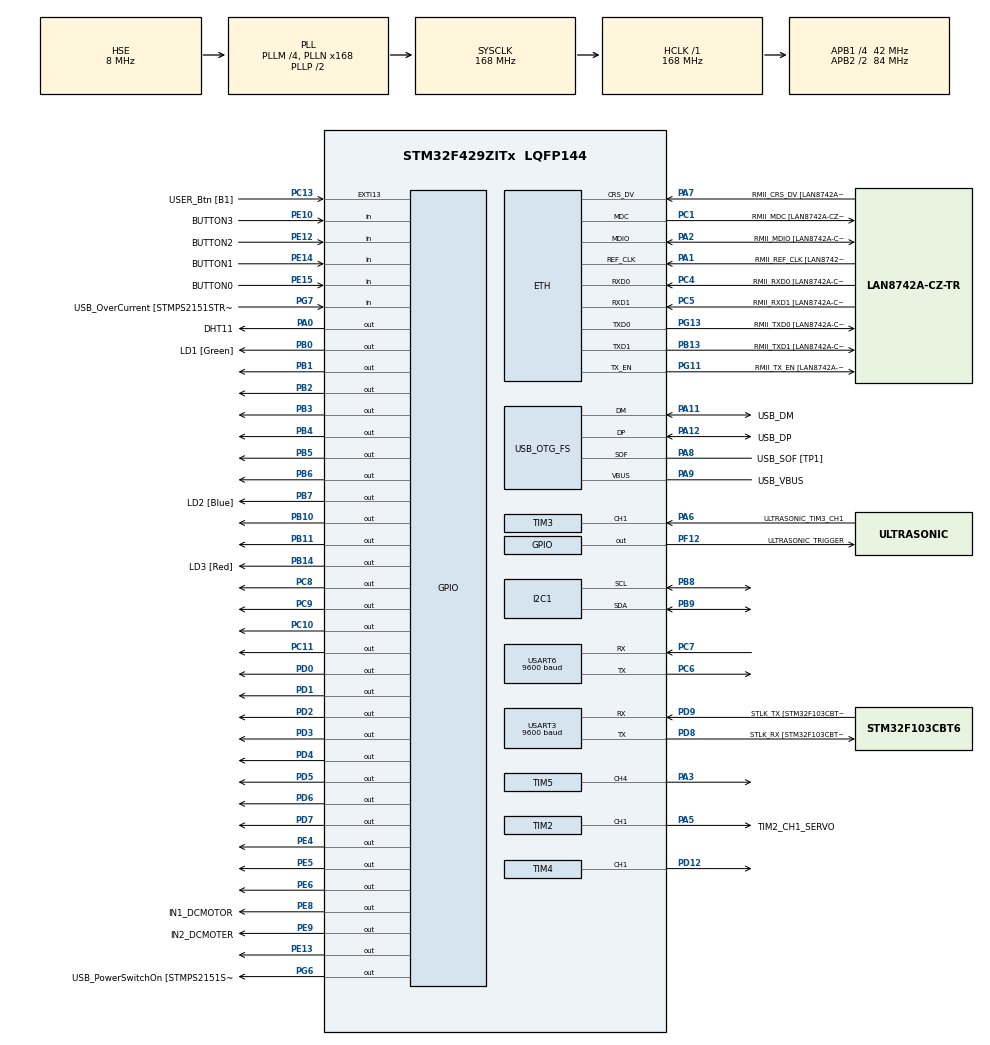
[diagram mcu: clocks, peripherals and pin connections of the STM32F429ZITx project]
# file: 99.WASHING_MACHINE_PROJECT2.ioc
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ETH.MediaInterface=HAL_ETH_RMII_MODE
ETH.PHY_Name=LAN8742A_PHY_ADDRESS
ETH.PHY_Value=0
ETH.PhyAddress=0
Mcu.Family=STM32F4
Mcu.Name=STM32F429ZITx
Mcu.Package=LQFP144
NVIC.PriorityGroup=NVIC_PRIORITYGROUP_4
NVIC.TIM1_TRG_COM_TIM11_IRQn=true\:0\:0\:false\:false\:true\:true\:true\:true
NVIC.TIM1_UP_TIM10_IRQn=true\:0\:0\:false\:false\:true\:true\:true\:true
NVIC.TIM2_IRQn=true\:0\:0\:false\:false\:true\:true\:true\:true
NVIC.TIM3_IRQn=true\:0\:0\:false\:false\:true\:true\:true\:true
NVIC.TIM4_IRQn=true\:0\:0\:false\:false\:true\:true\:true\:true
NVIC.TIM5_IRQn=true\:0\:0\:false\:false\:true\:true\:true\:true
NVIC.USART3_IRQn=true\:0\:0\:false\:false\:true\:true\:true\:true
NVIC.USART6_IRQn=true\:0\:0\:false\:false\:true\:true\:true\:true
PA0/WKUP.GPIO_Label=DHT11
PA0/WKUP.Signal=GPIO_Output
PA1.GPIO_Label=RMII_REF_CLK [LAN8742A-CZ-TR_REFCLK0]
PA1.Mode=RMII
PA1.Signal=ETH_REF_CLK
PA10.GPIO_Label=USB_ID
PA10.Signal=USB_OTG_FS_ID
PA11.GPIO_Label=USB_DM
PA11.Mode=Device_Only
PA11.Signal=USB_OTG_FS_DM
PA12.GPIO_Label=USB_DP
PA12.Mode=Device_Only
PA12.Signal=USB_OTG_FS_DP
PA13.GPIO_Label=TMS
PA13.Mode=Serial_Wire
PA13.Signal=SYS_JTMS-SWDIO
PA14.GPIO_Label=TCK
PA14.Mode=Serial_Wire
PA14.Signal=SYS_JTCK-SWCLK
PA2.GPIO_Label=RMII_MDIO [LAN8742A-CZ-TR_MDIO]
PA2.Mode=RMII
PA2.Signal=ETH_MDIO
PA3.Signal=S_TIM5_CH4
PA5.GPIO_Label=TIM2_CH1_SERVO
PA5.Signal=S_TIM2_CH1_ETR
PA6.GPIO_Label=ULTRASONIC_TIM3_CH1
PA6.Signal=S_TIM3_CH1
PA7.GPIO_Label=RMII_CRS_DV [LAN8742A-CZ-TR_CRS_DV]
PA7.Mode=RMII
PA7.Signal=ETH_CRS_DV
PA8.GPIO_Label=USB_SOF [TP1]
PA8.Mode=Activate_SOF_FS
PA8.Signal=USB_OTG_FS_SOF
PA9.GPIO_Label=USB_VBUS
PA9.Mode=Activate_VBUS
PA9.Signal=USB_OTG_FS_VBUS
PB0.GPIO_Label=LD1 [Green]
PB0.Signal=GPIO_Output
PB1.Signal=GPIO_Output
PB10.Signal=GPIO_Output
PB11.Signal=GPIO_Output
PB13.GPIO_Label=RMII_TXD1 [LAN8742A-CZ-TR_TXD1]
PB13.Mode=RMII
PB13.Signal=ETH_TXD1
PB14.GPIO_Label=LD3 [Red]
PB14.Signal=GPIO_Output
PB2/BOOT1.Signal=GPIO_Output
PB3.Signal=GPIO_Output
PB4.Signal=GPIO_Output
PB5.Signal=GPIO_Output
PB6.Signal=GPIO_Output
PB7.GPIO_Label=LD2 [Blue]
PB7.Signal=GPIO_Output
PB8.Mode=I2C
PB8.Signal=I2C1_SCL
PB9.Mode=I2C
PB9.Signal=I2C1_SDA
PC1.GPIO_Label=RMII_MDC [LAN8742A-CZ-TR_MDC]
PC1.Mode=RMII
PC1.Signal=ETH_MDC
PC10.Signal=GPIO_Output
PC11.Signal=GPIO_Output
PC13.GPIO_Label=USER_Btn [B1]
PC13.Signal=GPXTI13
PC14/OSC32_IN.Mode=LSE-External-Oscillator
PC14/OSC32_IN.Signal=RCC_OSC32_IN
PC15/OSC32_OUT.Mode=LSE-External-Oscillator
PC15/OSC32_OUT.Signal=RCC_OSC32_OUT
PC4.GPIO_Label=RMII_RXD0 [LAN8742A-CZ-TR_RXD0]
PC4.Mode=RMII
PC4.Signal=ETH_RXD0
PC5.GPIO_Label=RMII_RXD1 [LAN8742A-CZ-TR_RXD1]
PC5.Mode=RMII
PC5.Signal=ETH_RXD1
PC6.Mode=Asynchronous
PC6.Signal=USART6_TX
PC7.Mode=Asynchronous
PC7.Signal=USART6_RX
PC8.Signal=GPIO_Output
PC9.Signal=GPIO_Output
PD0.Signal=GPIO_Output
PD1.Signal=GPIO_Output
PD12.Signal=S_TIM4_CH1
PD2.Signal=GPIO_Output
PD3.Signal=GPIO_Output
PD4.Signal=GPIO_Output
PD5.Signal=GPIO_Output
PD6.Signal=GPIO_Output
PD7.Signal=GPIO_Output
PD8.GPIO_Label=STLK_RX [STM32F103CBT6_PA3]
PD8.Mode=Asynchronous
PD8.Signal=USART3_TX
PD9.GPIO_Label=STLK_TX [STM32F103CBT6_PA2]
PD9.Mode=Asynchronous
PD9.Signal=USART3_RX
PE10.GPIO_Label=BUTTON3
PE10.Signal=GPIO_Input
PE12.GPIO_Label=BUTTON2
PE12.Signal=GPIO_Input
PE13.Signal=GPIO_Output
PE14.GPIO_Label=BUTTON1
PE14.Signal=GPIO_Input
PE15.GPIO_Label=BUTTON0
PE15.Signal=GPIO_Input
PE4.Signal=GPIO_Output
PE5.Signal=GPIO_Output
PE6.Signal=GPIO_Output
PE8.GPIO_Label=IN1_DCMOTOR
PE8.Signal=GPIO_Output
PE9.GPIO_Label=IN2_DCMOTER
PE9.Signal=GPIO_Output
PF12.GPIO_Label=ULTRASONIC_TRIGGER
PF12.Signal=GPIO_Output
PG11.GPIO_Label=RMII_TX_EN [LAN8742A-CZ-TR_TXEN]
PG11.Mode=RMII
PG11.Signal=ETH_TX_EN
PG13.GPIO_Label=RMII_TXD0 [LAN8742A-CZ-TR_TXD0]
PG13.Mode=RMII
PG13.Signal=ETH_TXD0
PG6.GPIO_Label=USB_PowerSwitchOn [STMPS2151STR_EN]
PG6.Signal=GPIO_Output
PG7.GPIO_Label=USB_OverCurrent [STMPS2151STR_FAULT]
PG7.Signal=GPIO_Input
PH0/OSC_IN.GPIO_Label=MCO [STM32F103CBT6_PA8]
PH0/OSC_IN.Mode=HSE-External-Clock-Source
PH0/OSC_IN.Signal=RCC_OSC_IN
PH1/OSC_OUT.Mode=HSE-External-Clock-Source
PH1/OSC_OUT.Signal=RCC_OSC_OUT
ProjectManager.HeapSize=0x200
ProjectManager.StackSize=0x400
ProjectManager.TargetToolchain=STM32CubeIDE
RCC.48MHZClocksFreq_Value=48000000
RCC.AHBFreq_Value=168000000
RCC.APB1CLKDivider=RCC_HCLK_DIV4
RCC.APB1Freq_Value=42000000
RCC.APB1TimFreq_Value=84000000
RCC.APB2CLKDivider=RCC_HCLK_DIV2
RCC.APB2Freq_Value=84000000
RCC.APB2TimCLKDivider=2
RCC.APB2TimFreq_Value=168000000
RCC.CortexFreq_Value=168000000
RCC.HCLKFreq_Value=168000000
RCC.HSE_VALUE=8000000
RCC.HSI_VALUE=16000000
RCC.PLLM=4
RCC.PLLMUL=RCC_PLL_MUL9
RCC.PLLN=168
RCC.PLLQ=7
RCC.PRESCALERUSB=RCC_USBCLKSOURCE_PLL_DIV1_5
RCC.SYSCLKFreq_VALUE=168000000
RCC.SYSCLKSource=RCC_SYSCLKSOURCE_PLLCLK
RCC.SYSCLKSourceVirtual=RCC_SYSCLKSOURCE_PLLCLK
RCC.USBFreq_Value=48000000
RCC.VCOOutputFreq_Value=336000000
RTC.Date=16
RTC.Hours=9
RTC.Minutes=38
RTC.Month=RTC_MONTH_OCTOBER
RTC.Year=23
SH.S_TIM2_CH1_ETR.0=TIM2_CH1,PWM Generation1 CH1
SH.S_TIM3_CH1.0=TIM3_CH1,Input_Capture1_from_TI1
SH.S_TIM4_CH1.0=TIM4_CH1,PWM Generation1 CH1
SH.S_TIM5_CH4.0=TIM5_CH4,PWM Generation4 CH4
TIM10.Period=10000-1
TIM10.Prescaler=168-1
TIM11.Prescaler=168-1
TIM2.Channel-PWM\ Generation1\ CH1=TIM_CHANNEL_1
TIM2.Period=1000-1
TIM2.Prescaler=1680-1
TIM2.Pulse-PWM\ Generation1\ CH1=500-1
TIM3.Channel-Input_Capture1_from_TI1=TIM_CHANNEL_1
TIM3.ICPolarity_CH1=TIM_INPUTCHANNELPOLARITY_BOTHEDGE
TIM3.Prescaler=84-1
TIM4.Channel-PWM\ Generation1\ CH1=TIM_CHANNEL_1
TIM4.OCFastMode_PWM-PWM\ Generation1\ CH1=TIM_OCFAST_ENABLE
TIM4.Period=100-1
TIM4.Prescaler=840-1
TIM4.Pulse-PWM\ Generation1\ CH1=70-1
TIM5.Channel-PWM\ Generation4\ CH4=TIM_CHANNEL_4
TIM5.Period=400-1
TIM5.Prescaler=52.5-1
TIM5.Pulse-PWM\ Generation4\ CH4=200-1
USART3.BaudRate=9600
USART3.VirtualMode=VM_ASYNC
USART6.BaudRate=9600
USART6.VirtualMode=VM_ASYNC
USB_OTG_FS.VirtualMode=Device_Only
VP_RTC_VS_RTC_Activate.Mode=RTC_Enabled
VP_RTC_VS_RTC_Calendar.Mode=RTC_Calendar
VP_TIM10_VS_ClockSourceINT.Mode=Enable_Timer
VP_TIM11_VS_ClockSourceINT.Mode=Enable_Timer
VP_TIM4_VS_ClockSourceINT.Mode=Internal
VP_TIM5_VS_ClockSourceINT.Mode=Internal
board=NUCLEO-F429ZI

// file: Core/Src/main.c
/* USER CODE BEGIN Header */
/**
  ******************************************************************************
  * @file           : main.c
  * @brief          : Main program body
  ******************************************************************************
  * @attention
  *
  * Copyright (c) 2023 STMicroelectronics.
  * All rights reserved.
  *
  * This software is licensed under terms that can be found in the LICENSE file
  * in the root directory of this software component.
  * If no LICENSE file comes with this software, it is provided AS-IS.
  *
  ******************************************************************************
  */
/* USER CODE END Header */
#include "main.h"
#include "string.h"

ETH_TxPacketConfig TxConfig;
ETH_DMADescTypeDef  DMARxDscrTab[ETH_RX_DESC_CNT]; /* Ethernet Rx DMA Descriptors */
ETH_DMADescTypeDef  DMATxDscrTab[ETH_TX_DESC_CNT]; /* Ethernet Tx DMA Descriptors */

ETH_HandleTypeDef heth;

I2C_HandleTypeDef hi2c1;

RTC_HandleTypeDef hrtc;

TIM_HandleTypeDef htim2;
TIM_HandleTypeDef htim3;
TIM_HandleTypeDef htim4;
TIM_HandleTypeDef htim5;
TIM_HandleTypeDef htim10;
TIM_HandleTypeDef htim11;

UART_HandleTypeDef huart3;
UART_HandleTypeDef huart6;

PCD_HandleTypeDef hpcd_USB_OTG_FS;

/* USER CODE BEGIN PV */
uint8_t rx_data;									// UART3 rx data
uint8_t bt_rx_data;									// UART6 bt rx data
volatile int TIM10_10ms_counter = 0;				// variation from line-124
volatile int TIM10_10ms_ultrasonic = 0;					// new counter ( because counter clear point different)
volatile int TIM10_10ms_counter_pwm = 0;
volatile int TIM10_10ms_toggle = 0;
//volatile int TIM10_10ms_counter_led = 0;
//a
//a
/* USER CODE END PV */

void SystemClock_Config(void);
static void MX_GPIO_Init(void);
static void MX_ETH_Init(void);
static void MX_USART3_UART_Init(void);
static void MX_USB_OTG_FS_PCD_Init(void);
static void MX_USART6_UART_Init(void);
static void MX_TIM10_Init(void);
static void MX_TIM11_Init(void);
static void MX_TIM3_Init(void);
static void MX_I2C1_Init(void);
static void MX_TIM4_Init(void);
static void MX_TIM2_Init(void);
static void MX_RTC_Init(void);
static void MX_TIM5_Init(void);
/* USER CODE BEGIN PFP */
extern void led_main(void);							// different file func declaration
extern void pc_command_processing(void);			// declaration (from uart.c)
extern void bt_command_processing(void);			// declaration (from uart.c)
extern void DHT11_main(void);						// declaration (from DHT11.c 11)
extern void DHT11_Init(void);						// declaration (from DHT11.c 12)
extern void DHT11_processing(void);					// declaration (from DHT11.c 13)
extern void ultrasonic_processing(void);				// declaration (from ultrasonic.c 4 )
extern void i2c_lcd_main(void);							// declaration (from i2c_lcd.c 17 )
extern void i2c_lcd_init(void);								// from i2c_lcd.h
extern void lcd_string(uint8_t *str);								// from i2c_lcd.h
extern void move_cursor(uint8_t row, uint8_t column);				// from i2c_lcd.h
extern void dcmotor_pwm_control(void);								// declaration		from dcmotor.c 6
extern void servo_motor_test_main(void);							// declaration 		from servo_motor.c 3
extern void get_rtc(void);												// from internal_rtc.c 4
extern void lcd_display_mode_select(void);								// from button.c 8
extern void set_time_button_ui(void);									// from internal_rtc.c 6
extern void buzzer_main();													// from buzzer.c 59
extern void fnd4digit_main(void);												//
extern void FND4digit_off(void);
extern void fnd4digit_sec_clock(void);
extern void buzzer_stop();
extern void buzzer_finish();

void delay_us(unsigned long us);						// declaration (from dcmotor.c 6 )
/* USER CODE END PFP */

/* USER CODE BEGIN 0 */
//==============================================
// call by SysTick_Handler of stm32f4xx_it.c
// ARM default timer
// enter here every 1ms
//==============================================
volatile int t1ms_counter = 0;						// volatile : disable optimize  -> dcmotor pwm control
volatile int fnd1ms_counter = 0;									// fnd1ms
void HAL_SYSTICK_Handler(void)						// func
{
	t1ms_counter++;									// 1ms timer
	fnd1ms_counter++;												//
}
//==============================================
// printf.c -> copy									120
//==============================================
//----------  printf start ---------------------------------------------------------------------//
#ifdef __GNUC__
/* With GCC, small printf (option LD Linker->Libraries->Small printf
   set to 'Yes') calls __io_putchar() */
#define PUTCHAR_PROTOTYPE int __io_putchar(int ch)
#else
#define PUTCHAR_PROTOTYPE int fputc(int ch, FILE *f)
#endif /* __GNUC_ */
/**
  * @brief  Retargets the C library printf function to the USART.
  * @param  None
  * @retval None
  */
PUTCHAR_PROTOTYPE   // Add for printf
{
  /* Place your implementation of fputc here */
  /* e.g. write a character to the USART3 and Loop until the end of transmission */
  HAL_UART_Transmit(&huart3, (uint8_t *)&ch, 1, 0xFFFF);

  return ch;
}
//----------  printf end -----------------------------------------------------------------------//
// move from Driver/STM32F4xx_HAL_Driver/stm32f4xx_hal_tim.c to here
// enter here when every timer INT occurs
// volatile int TIM10_10ms_counter = 0;							// variation move up line-61
void HAL_TIM_PeriodElapsedCallback(TIM_HandleTypeDef *htim)		// Call back function (move from Driver/STM32F4xx_HAL_Driver/stm32f4xx_hal_tim.c to here)
{
	if (htim->Instance == TIM10)								//
	{
		TIM10_10ms_counter++;									// 10ms timer counter (increase)
		TIM10_10ms_ultrasonic++;									// 10ms ultrasonic counter trigger timer
		TIM10_10ms_counter_pwm++;
		TIM10_10ms_toggle++;
//		TIM10_10ms_counter_led++;
	}
}

void delay_us(unsigned long us)
{
	__HAL_TIM_SET_COUNTER(&htim11,0);							// tim11 clear				// H/W counter read pulse
	while (__HAL_TIM_GET_COUNTER(&htim11) < us)												// cycle reputation 		// 129
		;
}

/* USER CODE END 0 */

int main(void)
{

  /* MCU Configuration--------------------------------------------------------*/

  /* Reset of all peripherals, Initializes the Flash interface and the Systick. */
  HAL_Init();

  /* Configure the system clock */
  SystemClock_Config();

  /* Initialize all configured peripherals */
  MX_GPIO_Init();
  MX_ETH_Init();
  MX_USART3_UART_Init();
  MX_USB_OTG_FS_PCD_Init();
  MX_USART6_UART_Init();
  MX_TIM10_Init();
  MX_TIM11_Init();
  MX_TIM3_Init();
  MX_I2C1_Init();
  MX_TIM4_Init();
  MX_TIM2_Init();
  MX_RTC_Init();
  MX_TIM5_Init();
  /* USER CODE BEGIN 2 */
  HAL_UART_Receive_IT(&huart3, &rx_data, 1);		// assigning to RX INT(interrupt)
  HAL_UART_Receive_IT(&huart6, &bt_rx_data, 1);		// for BT assigning to RX INT(interrupt)
  HAL_TIM_Base_Start_IT(&htim10);					// ADD_Juhee_1011
  HAL_TIM_Base_Start_IT(&htim11);					// ADD_Juhee_1011
  HAL_TIM_IC_Start_IT(&htim3, TIM_CHANNEL_1);		// for count pulse (rising edge & falling edge) -> interrupt
  HAL_TIM_PWM_Start_IT(&htim4, TIM_CHANNEL_1);			// for DC motor PWM control
  HAL_TIM_PWM_Start(&htim2, TIM_CHANNEL_1);				// for SERVO motor PWM control
  //HAL_TIM_PWM_Start(&htim5, TIM_CHANNEL_4);					// PIEZO BUzzer (Pinout -> Channel:4)

DHT11_Init();								// clear
i2c_lcd_init();								// clear
FND4digit_off();				// clear

TIM10_10ms_counter = 0;								// for clear
//TIM10_10ms_counter_led = 0;
//	printf("led_main() start !!!\n");  	  	  	  	// test code
//  led_main();										// write only func name
//  DHT11_main();									// test code
//	i2c_lcd_main();									// test -> Hello World print check -> delete
//	servo_motor_test_main();					// for servo test code -> infinite loop(lcd on x)
//	buzzer_main();
//	fnd4digit_main();

  /* USER CODE END 2 */

  /* Infinite loop */
  /* USER CODE BEGIN WHILE */
  while (1)
  {
//	  DHT11_processing();	  							// all func cycle
	  pc_command_processing();							// call cycle
	  bt_command_processing();							// call
//	  ultrasonic_processing();
	  dcmotor_pwm_control();
//	  get_rtc();										//
	  lcd_display_mode_select();						//
//	  set_time_button_ui();								//
	  fnd4digit_sec_clock();

#if 0
// LED 1 2 3 -> 50ms 100ms 150ms toggle
#if 1
	  if (TIM10_10ms_counter >= 5)							// 50ms toggle
	  {
		  HAL_GPIO_TogglePin(GPIOB, GPIO_PIN_0); 			// LED1
	  }

	  if (TIM10_10ms_counter >= 10)							// 100ms toggle
	  {
		  HAL_GPIO_TogglePin(GPIOB, GPIO_PIN_7); 			// LED2
	  }

	  if (TIM10_10ms_counter >= 15)							// 150ms toggle
	  {
		  HAL_GPIO_TogglePin(GPIOB, GPIO_PIN_14); 			// LED3
		  TIM10_10ms_counter = 0;
	  }

// LED 123 -> 50ms toggle
#else
	  if (TIM10_10ms_counter >= 5)					// 50ms toggle (inside LED123)
	  {
		  TIM10_10ms_counter = 0;					// clear
		  HAL_GPIO_TogglePin(GPIOB, GPIO_PIN_0); 	// LED1
		  HAL_GPIO_TogglePin(GPIOB, GPIO_PIN_7); 	// LED3
		  HAL_GPIO_TogglePin(GPIOB, GPIO_PIN_14); 	// LED2
//		  HAL_Delay(50);							// toggle -> x
	  }
#endif
#endif

    /* USER CODE END WHILE */

    /* USER CODE BEGIN 3 */
//	  HAL_GPIO_TogglePin(GPIOB, GPIO_PIN_0);		// LED1
//	  HAL_GPIO_TogglePin(GPIOB, GPIO_PIN_7);		// LED2
//	  HAL_GPIO_TogglePin(GPIOB, GPIO_PIN_14);		// LED3
//	  HAL_Delay(200);								// 200ms delay
  }
  /* USER CODE END 3 */
}

void SystemClock_Config(void)
{
  RCC_OscInitTypeDef RCC_OscInitStruct = {0};
  RCC_ClkInitTypeDef RCC_ClkInitStruct = {0};

  /** Configure the main internal regulator output voltage
  */
  __HAL_RCC_PWR_CLK_ENABLE();
  __HAL_PWR_VOLTAGESCALING_CONFIG(PWR_REGULATOR_VOLTAGE_SCALE1);

  /** Initializes the RCC Oscillators according to the specified parameters
  * in the RCC_OscInitTypeDef structure.
  */
  RCC_OscInitStruct.OscillatorType = RCC_OSCILLATORTYPE_LSI|RCC_OSCILLATORTYPE_HSE;
  RCC_OscInitStruct.HSEState = RCC_HSE_BYPASS;
  RCC_OscInitStruct.LSIState = RCC_LSI_ON;
  RCC_OscInitStruct.PLL.PLLState = RCC_PLL_ON;
  RCC_OscInitStruct.PLL.PLLSource = RCC_PLLSOURCE_HSE;
  RCC_OscInitStruct.PLL.PLLM = 4;
  RCC_OscInitStruct.PLL.PLLN = 168;
  RCC_OscInitStruct.PLL.PLLP = RCC_PLLP_DIV2;
  RCC_OscInitStruct.PLL.PLLQ = 7;
  if (HAL_RCC_OscConfig(&RCC_OscInitStruct) != HAL_OK)
  {
    Error_Handler();
  }

  /** Initializes the CPU, AHB and APB buses clocks
  */
  RCC_ClkInitStruct.ClockType = RCC_CLOCKTYPE_HCLK|RCC_CLOCKTYPE_SYSCLK
                              |RCC_CLOCKTYPE_PCLK1|RCC_CLOCKTYPE_PCLK2;
  RCC_ClkInitStruct.SYSCLKSource = RCC_SYSCLKSOURCE_PLLCLK;
  RCC_ClkInitStruct.AHBCLKDivider = RCC_SYSCLK_DIV1;
  RCC_ClkInitStruct.APB1CLKDivider = RCC_HCLK_DIV4;
  RCC_ClkInitStruct.APB2CLKDivider = RCC_HCLK_DIV2;

  if (HAL_RCC_ClockConfig(&RCC_ClkInitStruct, FLASH_LATENCY_5) != HAL_OK)
  {
    Error_Handler();
  }
}

static void MX_ETH_Init(void)
{

   static uint8_t MACAddr[6];

  heth.Instance = ETH;
  MACAddr[0] = 0x00;
  MACAddr[1] = 0x80;
  MACAddr[2] = 0xE1;
  MACAddr[3] = 0x00;
  MACAddr[4] = 0x00;
  MACAddr[5] = 0x00;
  heth.Init.MACAddr = &MACAddr[0];
  heth.Init.MediaInterface = HAL_ETH_RMII_MODE;
  heth.Init.TxDesc = DMATxDscrTab;
  heth.Init.RxDesc = DMARxDscrTab;
  heth.Init.RxBuffLen = 1524;

  if (HAL_ETH_Init(&heth) != HAL_OK)
  {
    Error_Handler();
  }

  memset(&TxConfig, 0 , sizeof(ETH_TxPacketConfig));
  TxConfig.Attributes = ETH_TX_PACKETS_FEATURES_CSUM | ETH_TX_PACKETS_FEATURES_CRCPAD;
  TxConfig.ChecksumCtrl = ETH_CHECKSUM_IPHDR_PAYLOAD_INSERT_PHDR_CALC;
  TxConfig.CRCPadCtrl = ETH_CRC_PAD_INSERT;

}

static void MX_I2C1_Init(void)
{

  hi2c1.Instance = I2C1;
  hi2c1.Init.ClockSpeed = 100000;
  hi2c1.Init.DutyCycle = I2C_DUTYCYCLE_2;
  hi2c1.Init.OwnAddress1 = 0;
  hi2c1.Init.AddressingMode = I2C_ADDRESSINGMODE_7BIT;
  hi2c1.Init.DualAddressMode = I2C_DUALADDRESS_DISABLE;
  hi2c1.Init.OwnAddress2 = 0;
  hi2c1.Init.GeneralCallMode = I2C_GENERALCALL_DISABLE;
  hi2c1.Init.NoStretchMode = I2C_NOSTRETCH_DISABLE;
  if (HAL_I2C_Init(&hi2c1) != HAL_OK)
  {
    Error_Handler();
  }

  /** Configure Analogue filter
  */
  if (HAL_I2CEx_ConfigAnalogFilter(&hi2c1, I2C_ANALOGFILTER_ENABLE) != HAL_OK)
  {
    Error_Handler();
  }

  /** Configure Digital filter
  */
  if (HAL_I2CEx_ConfigDigitalFilter(&hi2c1, 0) != HAL_OK)
  {
    Error_Handler();
  }

}

static void MX_RTC_Init(void)
{

  RTC_TimeTypeDef sTime = {0};
  RTC_DateTypeDef sDate = {0};

  /** Initialize RTC Only
  */
  hrtc.Instance = RTC;
  hrtc.Init.HourFormat = RTC_HOURFORMAT_24;
  hrtc.Init.AsynchPrediv = 127;
  hrtc.Init.SynchPrediv = 255;
  hrtc.Init.OutPut = RTC_OUTPUT_DISABLE;
  hrtc.Init.OutPutPolarity = RTC_OUTPUT_POLARITY_HIGH;
  hrtc.Init.OutPutType = RTC_OUTPUT_TYPE_OPENDRAIN;
  if (HAL_RTC_Init(&hrtc) != HAL_OK)
  {
    Error_Handler();
  }

  /** Initialize RTC and set the Time and Date
  */
  sTime.Hours = 0x9;
  sTime.Minutes = 0x38;
  sTime.Seconds = 0x0;
  sTime.DayLightSaving = RTC_DAYLIGHTSAVING_NONE;
  sTime.StoreOperation = RTC_STOREOPERATION_RESET;
  if (HAL_RTC_SetTime(&hrtc, &sTime, RTC_FORMAT_BCD) != HAL_OK)
  {
    Error_Handler();
  }
  sDate.WeekDay = RTC_WEEKDAY_MONDAY;
  sDate.Month = RTC_MONTH_OCTOBER;
  sDate.Date = 0x16;
  sDate.Year = 0x23;

  if (HAL_RTC_SetDate(&hrtc, &sDate, RTC_FORMAT_BCD) != HAL_OK)
  {
    Error_Handler();
  }

}

static void MX_TIM2_Init(void)
{

  TIM_MasterConfigTypeDef sMasterConfig = {0};
  TIM_OC_InitTypeDef sConfigOC = {0};

  htim2.Instance = TIM2;
  htim2.Init.Prescaler = 1680-1;
  htim2.Init.CounterMode = TIM_COUNTERMODE_UP;
  htim2.Init.Period = 1000-1;
  htim2.Init.ClockDivision = TIM_CLOCKDIVISION_DIV1;
  htim2.Init.AutoReloadPreload = TIM_AUTORELOAD_PRELOAD_DISABLE;
  if (HAL_TIM_PWM_Init(&htim2) != HAL_OK)
  {
    Error_Handler();
  }
  sMasterConfig.MasterOutputTrigger = TIM_TRGO_RESET;
  sMasterConfig.MasterSlaveMode = TIM_MASTERSLAVEMODE_DISABLE;
  if (HAL_TIMEx_MasterConfigSynchronization(&htim2, &sMasterConfig) != HAL_OK)
  {
    Error_Handler();
  }
  sConfigOC.OCMode = TIM_OCMODE_PWM1;
  sConfigOC.Pulse = 500-1;
  sConfigOC.OCPolarity = TIM_OCPOLARITY_HIGH;
  sConfigOC.OCFastMode = TIM_OCFAST_DISABLE;
  if (HAL_TIM_PWM_ConfigChannel(&htim2, &sConfigOC, TIM_CHANNEL_1) != HAL_OK)
  {
    Error_Handler();
  }
  HAL_TIM_MspPostInit(&htim2);

}

static void MX_TIM3_Init(void)
{

  TIM_MasterConfigTypeDef sMasterConfig = {0};
  TIM_IC_InitTypeDef sConfigIC = {0};

  htim3.Instance = TIM3;
  htim3.Init.Prescaler = 84-1;
  htim3.Init.CounterMode = TIM_COUNTERMODE_UP;
  htim3.Init.Period = 65535;
  htim3.Init.ClockDivision = TIM_CLOCKDIVISION_DIV1;
  htim3.Init.AutoReloadPreload = TIM_AUTORELOAD_PRELOAD_DISABLE;
  if (HAL_TIM_IC_Init(&htim3) != HAL_OK)
  {
    Error_Handler();
  }
  sMasterConfig.MasterOutputTrigger = TIM_TRGO_RESET;
  sMasterConfig.MasterSlaveMode = TIM_MASTERSLAVEMODE_DISABLE;
  if (HAL_TIMEx_MasterConfigSynchronization(&htim3, &sMasterConfig) != HAL_OK)
  {
    Error_Handler();
  }
  sConfigIC.ICPolarity = TIM_INPUTCHANNELPOLARITY_BOTHEDGE;
  sConfigIC.ICSelection = TIM_ICSELECTION_DIRECTTI;
  sConfigIC.ICPrescaler = TIM_ICPSC_DIV1;
  sConfigIC.ICFilter = 0;
  if (HAL_TIM_IC_ConfigChannel(&htim3, &sConfigIC, TIM_CHANNEL_1) != HAL_OK)
  {
    Error_Handler();
  }

}

static void MX_TIM4_Init(void)
{

  TIM_ClockConfigTypeDef sClockSourceConfig = {0};
  TIM_MasterConfigTypeDef sMasterConfig = {0};
  TIM_OC_InitTypeDef sConfigOC = {0};

  htim4.Instance = TIM4;
  htim4.Init.Prescaler = 840-1;
  htim4.Init.CounterMode = TIM_COUNTERMODE_UP;
  htim4.Init.Period = 100-1;
  htim4.Init.ClockDivision = TIM_CLOCKDIVISION_DIV1;
  htim4.Init.AutoReloadPreload = TIM_AUTORELOAD_PRELOAD_DISABLE;
  if (HAL_TIM_Base_Init(&htim4) != HAL_OK)
  {
    Error_Handler();
  }
  sClockSourceConfig.ClockSource = TIM_CLOCKSOURCE_INTERNAL;
  if (HAL_TIM_ConfigClockSource(&htim4, &sClockSourceConfig) != HAL_OK)
  {
    Error_Handler();
  }
  if (HAL_TIM_PWM_Init(&htim4) != HAL_OK)
  {
    Error_Handler();
  }
  sMasterConfig.MasterOutputTrigger = TIM_TRGO_RESET;
  sMasterConfig.MasterSlaveMode = TIM_MASTERSLAVEMODE_DISABLE;
  if (HAL_TIMEx_MasterConfigSynchronization(&htim4, &sMasterConfig) != HAL_OK)
  {
    Error_Handler();
  }
  sConfigOC.OCMode = TIM_OCMODE_PWM1;
  sConfigOC.Pulse = 70-1;
  sConfigOC.OCPolarity = TIM_OCPOLARITY_HIGH;
  sConfigOC.OCFastMode = TIM_OCFAST_ENABLE;
  if (HAL_TIM_PWM_ConfigChannel(&htim4, &sConfigOC, TIM_CHANNEL_1) != HAL_OK)
  {
    Error_Handler();
  }
  HAL_TIM_MspPostInit(&htim4);

}

static void MX_TIM5_Init(void)
{

  TIM_ClockConfigTypeDef sClockSourceConfig = {0};
  TIM_MasterConfigTypeDef sMasterConfig = {0};
  TIM_OC_InitTypeDef sConfigOC = {0};

  htim5.Instance = TIM5;
  htim5.Init.Prescaler = 52.5-1;
  htim5.Init.CounterMode = TIM_COUNTERMODE_UP;
  htim5.Init.Period = 400-1;
  htim5.Init.ClockDivision = TIM_CLOCKDIVISION_DIV1;
  htim5.Init.AutoReloadPreload = TIM_AUTORELOAD_PRELOAD_DISABLE;
  if (HAL_TIM_Base_Init(&htim5) != HAL_OK)
  {
    Error_Handler();
  }
  sClockSourceConfig.ClockSource = TIM_CLOCKSOURCE_INTERNAL;
  if (HAL_TIM_ConfigClockSource(&htim5, &sClockSourceConfig) != HAL_OK)
  {
    Error_Handler();
  }
  if (HAL_TIM_PWM_Init(&htim5) != HAL_OK)
  {
    Error_Handler();
  }
  sMasterConfig.MasterOutputTrigger = TIM_TRGO_RESET;
  sMasterConfig.MasterSlaveMode = TIM_MASTERSLAVEMODE_DISABLE;
  if (HAL_TIMEx_MasterConfigSynchronization(&htim5, &sMasterConfig) != HAL_OK)
  {
    Error_Handler();
  }
  sConfigOC.OCMode = TIM_OCMODE_PWM1;
  sConfigOC.Pulse = 200-1;
  sConfigOC.OCPolarity = TIM_OCPOLARITY_HIGH;
  sConfigOC.OCFastMode = TIM_OCFAST_DISABLE;
  if (HAL_TIM_PWM_ConfigChannel(&htim5, &sConfigOC, TIM_CHANNEL_4) != HAL_OK)
  {
    Error_Handler();
  }
  HAL_TIM_MspPostInit(&htim5);

}

static void MX_TIM10_Init(void)
{

  htim10.Instance = TIM10;
  htim10.Init.Prescaler = 168-1;
  htim10.Init.CounterMode = TIM_COUNTERMODE_UP;
  htim10.Init.Period = 10000-1;
  htim10.Init.ClockDivision = TIM_CLOCKDIVISION_DIV1;
  htim10.Init.AutoReloadPreload = TIM_AUTORELOAD_PRELOAD_DISABLE;
  if (HAL_TIM_Base_Init(&htim10) != HAL_OK)
  {
    Error_Handler();
  }

}

static void MX_TIM11_Init(void)
{

  htim11.Instance = TIM11;
  htim11.Init.Prescaler = 168-1;
  htim11.Init.CounterMode = TIM_COUNTERMODE_UP;
  htim11.Init.Period = 65535;
  htim11.Init.ClockDivision = TIM_CLOCKDIVISION_DIV1;
  htim11.Init.AutoReloadPreload = TIM_AUTORELOAD_PRELOAD_DISABLE;
  if (HAL_TIM_Base_Init(&htim11) != HAL_OK)
  {
    Error_Handler();
  }

}

static void MX_USART3_UART_Init(void)
{

  huart3.Instance = USART3;
  huart3.Init.BaudRate = 9600;
  huart3.Init.WordLength = UART_WORDLENGTH_8B;
  huart3.Init.StopBits = UART_STOPBITS_1;
  huart3.Init.Parity = UART_PARITY_NONE;
  huart3.Init.Mode = UART_MODE_TX_RX;
  huart3.Init.HwFlowCtl = UART_HWCONTROL_NONE;
  huart3.Init.OverSampling = UART_OVERSAMPLING_16;
  if (HAL_UART_Init(&huart3) != HAL_OK)
  {
    Error_Handler();
  }

}

static void MX_USART6_UART_Init(void)
{

  huart6.Instance = USART6;
  huart6.Init.BaudRate = 9600;
  huart6.Init.WordLength = UART_WORDLENGTH_8B;
  huart6.Init.StopBits = UART_STOPBITS_1;
  huart6.Init.Parity = UART_PARITY_NONE;
  huart6.Init.Mode = UART_MODE_TX_RX;
  huart6.Init.HwFlowCtl = UART_HWCONTROL_NONE;
  huart6.Init.OverSampling = UART_OVERSAMPLING_16;
  if (HAL_UART_Init(&huart6) != HAL_OK)
  {
    Error_Handler();
  }

}

static void MX_USB_OTG_FS_PCD_Init(void)
{

  hpcd_USB_OTG_FS.Instance = USB_OTG_FS;
  hpcd_USB_OTG_FS.Init.dev_endpoints = 4;
  hpcd_USB_OTG_FS.Init.speed = PCD_SPEED_FULL;
  hpcd_USB_OTG_FS.Init.dma_enable = DISABLE;
  hpcd_USB_OTG_FS.Init.phy_itface = PCD_PHY_EMBEDDED;
  hpcd_USB_OTG_FS.Init.Sof_enable = ENABLE;
  hpcd_USB_OTG_FS.Init.low_power_enable = DISABLE;
  hpcd_USB_OTG_FS.Init.lpm_enable = DISABLE;
  hpcd_USB_OTG_FS.Init.vbus_sensing_enable = ENABLE;
  hpcd_USB_OTG_FS.Init.use_dedicated_ep1 = DISABLE;
  if (HAL_PCD_Init(&hpcd_USB_OTG_FS) != HAL_OK)
  {
    Error_Handler();
  }

}

static void MX_GPIO_Init(void)
{
  GPIO_InitTypeDef GPIO_InitStruct = {0};

  /* GPIO Ports Clock Enable */
  __HAL_RCC_GPIOE_CLK_ENABLE();
  __HAL_RCC_GPIOC_CLK_ENABLE();
  __HAL_RCC_GPIOH_CLK_ENABLE();
  __HAL_RCC_GPIOA_CLK_ENABLE();
  __HAL_RCC_GPIOB_CLK_ENABLE();
  __HAL_RCC_GPIOF_CLK_ENABLE();
  __HAL_RCC_GPIOD_CLK_ENABLE();
  __HAL_RCC_GPIOG_CLK_ENABLE();

  /*Configure GPIO pin Output Level */
  HAL_GPIO_WritePin(GPIOE, GPIO_PIN_4|GPIO_PIN_5|GPIO_PIN_6|IN1_DCMOTOR_Pin
                          |IN2_DCMOTER_Pin|GPIO_PIN_13, GPIO_PIN_RESET);

  /*Configure GPIO pin Output Level */
  HAL_GPIO_WritePin(DHT11_GPIO_Port, DHT11_Pin, GPIO_PIN_RESET);

  /*Configure GPIO pin Output Level */
  HAL_GPIO_WritePin(GPIOB, LD1_Pin|GPIO_PIN_1|GPIO_PIN_2|GPIO_PIN_10
                          |GPIO_PIN_11|LD3_Pin|GPIO_PIN_3|GPIO_PIN_4
                          |GPIO_PIN_5|GPIO_PIN_6|LD2_Pin, GPIO_PIN_RESET);

  /*Configure GPIO pin Output Level */
  HAL_GPIO_WritePin(ULTRASONIC_TRIGGER_GPIO_Port, ULTRASONIC_TRIGGER_Pin, GPIO_PIN_RESET);

  /*Configure GPIO pin Output Level */
  HAL_GPIO_WritePin(USB_PowerSwitchOn_GPIO_Port, USB_PowerSwitchOn_Pin, GPIO_PIN_RESET);

  /*Configure GPIO pin Output Level */
  HAL_GPIO_WritePin(GPIOC, GPIO_PIN_8|GPIO_PIN_9|GPIO_PIN_10|GPIO_PIN_11, GPIO_PIN_RESET);

  /*Configure GPIO pin Output Level */
  HAL_GPIO_WritePin(GPIOD, GPIO_PIN_0|GPIO_PIN_1|GPIO_PIN_2|GPIO_PIN_3
                          |GPIO_PIN_4|GPIO_PIN_5|GPIO_PIN_6|GPIO_PIN_7, GPIO_PIN_RESET);

  /*Configure GPIO pins : PE4 PE5 PE6 IN1_DCMOTOR_Pin
                           IN2_DCMOTER_Pin PE13 */
  GPIO_InitStruct.Pin = GPIO_PIN_4|GPIO_PIN_5|GPIO_PIN_6|IN1_DCMOTOR_Pin
                          |IN2_DCMOTER_Pin|GPIO_PIN_13;
  GPIO_InitStruct.Mode = GPIO_MODE_OUTPUT_PP;
  GPIO_InitStruct.Pull = GPIO_NOPULL;
  GPIO_InitStruct.Speed = GPIO_SPEED_FREQ_LOW;
  HAL_GPIO_Init(GPIOE, &GPIO_InitStruct);

  /*Configure GPIO pin : USER_Btn_Pin */
  GPIO_InitStruct.Pin = USER_Btn_Pin;
  GPIO_InitStruct.Mode = GPIO_MODE_IT_RISING;
  GPIO_InitStruct.Pull = GPIO_NOPULL;
  HAL_GPIO_Init(USER_Btn_GPIO_Port, &GPIO_InitStruct);

  /*Configure GPIO pin : DHT11_Pin */
  GPIO_InitStruct.Pin = DHT11_Pin;
  GPIO_InitStruct.Mode = GPIO_MODE_OUTPUT_PP;
  GPIO_InitStruct.Pull = GPIO_NOPULL;
  GPIO_InitStruct.Speed = GPIO_SPEED_FREQ_LOW;
  HAL_GPIO_Init(DHT11_GPIO_Port, &GPIO_InitStruct);

  /*Configure GPIO pins : LD1_Pin PB1 PB2 PB10
                           PB11 LD3_Pin PB3 PB4
                           PB5 PB6 LD2_Pin */
  GPIO_InitStruct.Pin = LD1_Pin|GPIO_PIN_1|GPIO_PIN_2|GPIO_PIN_10
                          |GPIO_PIN_11|LD3_Pin|GPIO_PIN_3|GPIO_PIN_4
                          |GPIO_PIN_5|GPIO_PIN_6|LD2_Pin;
  GPIO_InitStruct.Mode = GPIO_MODE_OUTPUT_PP;
  GPIO_InitStruct.Pull = GPIO_NOPULL;
  GPIO_InitStruct.Speed = GPIO_SPEED_FREQ_LOW;
  HAL_GPIO_Init(GPIOB, &GPIO_InitStruct);

  /*Configure GPIO pin : ULTRASONIC_TRIGGER_Pin */
  GPIO_InitStruct.Pin = ULTRASONIC_TRIGGER_Pin;
  GPIO_InitStruct.Mode = GPIO_MODE_OUTPUT_PP;
  GPIO_InitStruct.Pull = GPIO_NOPULL;
  GPIO_InitStruct.Speed = GPIO_SPEED_FREQ_LOW;
  HAL_GPIO_Init(ULTRASONIC_TRIGGER_GPIO_Port, &GPIO_InitStruct);

  /*Configure GPIO pins : BUTTON3_Pin BUTTON2_Pin BUTTON1_Pin BUTTON0_Pin */
  GPIO_InitStruct.Pin = BUTTON3_Pin|BUTTON2_Pin|BUTTON1_Pin|BUTTON0_Pin;
  GPIO_InitStruct.Mode = GPIO_MODE_INPUT;
  GPIO_InitStruct.Pull = GPIO_NOPULL;
  HAL_GPIO_Init(GPIOE, &GPIO_InitStruct);

  /*Configure GPIO pin : USB_PowerSwitchOn_Pin */
  GPIO_InitStruct.Pin = USB_PowerSwitchOn_Pin;
  GPIO_InitStruct.Mode = GPIO_MODE_OUTPUT_PP;
  GPIO_InitStruct.Pull = GPIO_NOPULL;
  GPIO_InitStruct.Speed = GPIO_SPEED_FREQ_LOW;
  HAL_GPIO_Init(USB_PowerSwitchOn_GPIO_Port, &GPIO_InitStruct);

  /*Configure GPIO pin : USB_OverCurrent_Pin */
  GPIO_InitStruct.Pin = USB_OverCurrent_Pin;
  GPIO_InitStruct.Mode = GPIO_MODE_INPUT;
  GPIO_InitStruct.Pull = GPIO_NOPULL;
  HAL_GPIO_Init(USB_OverCurrent_GPIO_Port, &GPIO_InitStruct);

  /*Configure GPIO pins : PC8 PC9 PC10 PC11 */
  GPIO_InitStruct.Pin = GPIO_PIN_8|GPIO_PIN_9|GPIO_PIN_10|GPIO_PIN_11;
  GPIO_InitStruct.Mode = GPIO_MODE_OUTPUT_PP;
  GPIO_InitStruct.Pull = GPIO_NOPULL;
  GPIO_InitStruct.Speed = GPIO_SPEED_FREQ_LOW;
  HAL_GPIO_Init(GPIOC, &GPIO_InitStruct);

  /*Configure GPIO pins : PD0 PD1 PD2 PD3
                           PD4 PD5 PD6 PD7 */
  GPIO_InitStruct.Pin = GPIO_PIN_0|GPIO_PIN_1|GPIO_PIN_2|GPIO_PIN_3
                          |GPIO_PIN_4|GPIO_PIN_5|GPIO_PIN_6|GPIO_PIN_7;
  GPIO_InitStruct.Mode = GPIO_MODE_OUTPUT_PP;
  GPIO_InitStruct.Pull = GPIO_NOPULL;
  GPIO_InitStruct.Speed = GPIO_SPEED_FREQ_LOW;
  HAL_GPIO_Init(GPIOD, &GPIO_InitStruct);

}

void Error_Handler(void)
{
  __disable_irq();
  while (1)
  {
  }
}
